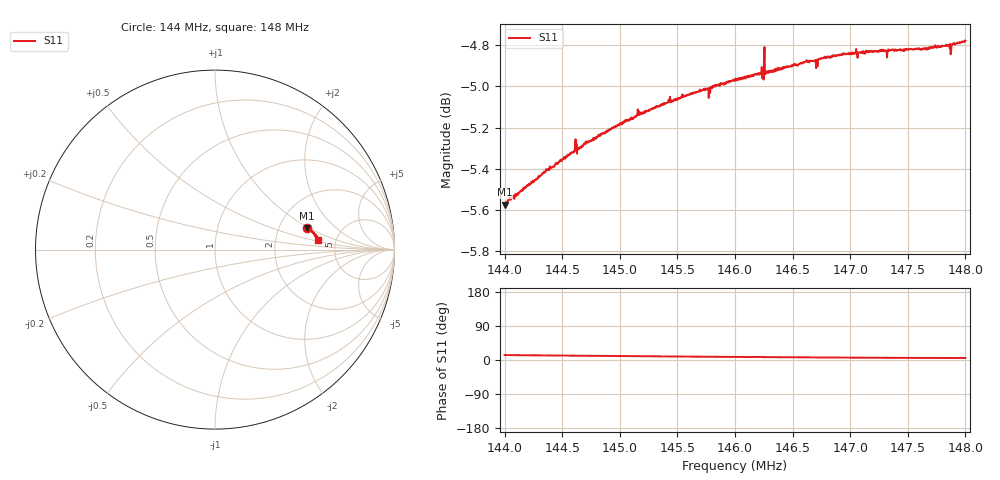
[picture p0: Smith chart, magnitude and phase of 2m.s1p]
! Calibrated averaged scanner-service zoom
# Hz S RI R 50
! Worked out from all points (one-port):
!   1001 points, 144 MHz to 148 MHz, reference 50 ohm
!   lowest |S11| = -5.6 dB at 144 MHz (marker M1), VSWR 3.22, Z = 144 + j46.9 ohm
!   |S11| at or under -10 dB: nowhere
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1.44e8  0.513 0.1178
1.4418e8  0.5186 0.1153
1.445e8  0.5287 0.1098
1.44588e8  0.531 0.1086
1.44604e8  0.5313 0.1081
1.44648e8  0.5329 0.1069
1.447e8  0.5344 0.1057
1.45e8  0.5417 0.1
1.45164e8  0.5453 0.0964
1.455e8  0.5513 0.0892
1.46e8  0.5587 0.0796
1.46168e8  0.561 0.0762
1.46228e8  0.5612 0.0756
1.46236e8  0.56 0.075
1.46272e8  0.5622 0.0746
1.4628e8  0.562 0.0747
1.465e8  0.5647 0.0709
1.46612e8  0.5659 0.0692
1.46704e8  0.5641 0.0676
1.46764e8  0.5675 0.0667
1.47e8  0.5692 0.0626
1.47304e8  0.5706 0.0582
1.475e8  0.5714 0.0559
1.47636e8  0.5718 0.0556
1.4784e8  0.5727 0.0541
1.47856e8  0.5728 0.0542
1.479e8  0.5736 0.0539
1.48e8  0.5745 0.0533
